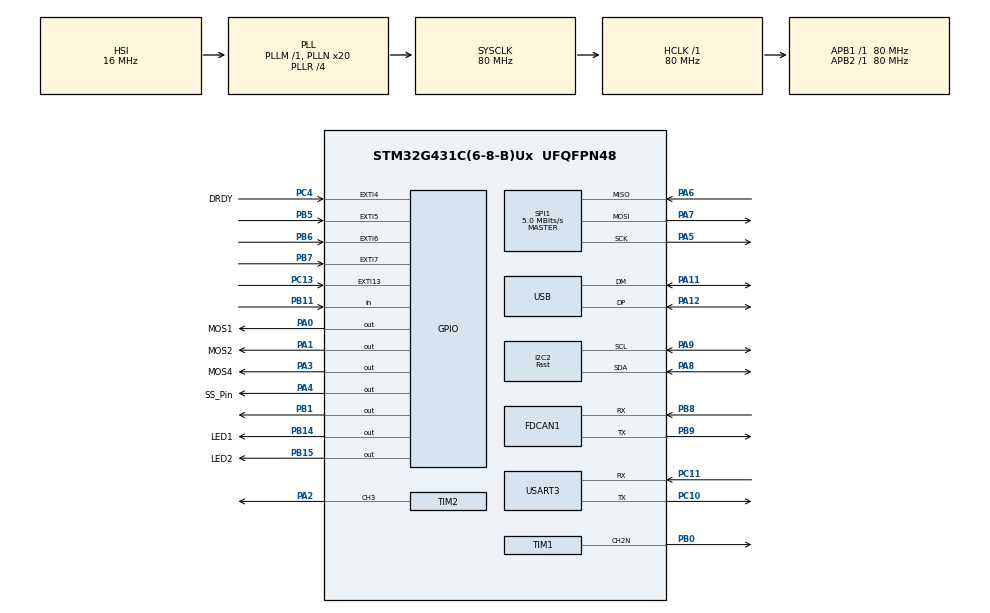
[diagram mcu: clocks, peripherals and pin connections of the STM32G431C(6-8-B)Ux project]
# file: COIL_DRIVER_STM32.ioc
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Dma.I2C2_TX.2.Direction=DMA_MEMORY_TO_PERIPH
Dma.I2C2_TX.2.EventEnable=DISABLE
Dma.I2C2_TX.2.Instance=DMA1_Channel1
Dma.I2C2_TX.2.MemDataAlignment=DMA_MDATAALIGN_BYTE
Dma.I2C2_TX.2.MemInc=DMA_MINC_ENABLE
Dma.I2C2_TX.2.Mode=DMA_NORMAL
Dma.I2C2_TX.2.PeriphDataAlignment=DMA_PDATAALIGN_BYTE
Dma.I2C2_TX.2.PeriphInc=DMA_PINC_DISABLE
Dma.I2C2_TX.2.Polarity=HAL_DMAMUX_REQ_GEN_RISING
Dma.I2C2_TX.2.Priority=DMA_PRIORITY_LOW
Dma.I2C2_TX.2.RequestNumber=1
Dma.I2C2_TX.2.SignalID=NONE
Dma.I2C2_TX.2.SyncEnable=DISABLE
Dma.I2C2_TX.2.SyncPolarity=HAL_DMAMUX_SYNC_NO_EVENT
Dma.I2C2_TX.2.SyncRequestNumber=1
Dma.I2C2_TX.2.SyncSignalID=NONE
Dma.MEMTOMEM.3.Direction=DMA_MEMORY_TO_MEMORY
Dma.MEMTOMEM.3.EventEnable=DISABLE
Dma.MEMTOMEM.3.Instance=DMA1_Channel2
Dma.MEMTOMEM.3.MemDataAlignment=DMA_MDATAALIGN_WORD
Dma.MEMTOMEM.3.MemInc=DMA_MINC_ENABLE
Dma.MEMTOMEM.3.Mode=DMA_NORMAL
Dma.MEMTOMEM.3.PeriphDataAlignment=DMA_PDATAALIGN_WORD
Dma.MEMTOMEM.3.PeriphInc=DMA_PINC_ENABLE
Dma.MEMTOMEM.3.Polarity=HAL_DMAMUX_REQ_GEN_RISING
Dma.MEMTOMEM.3.Priority=DMA_PRIORITY_LOW
Dma.MEMTOMEM.3.RequestNumber=1
Dma.MEMTOMEM.3.SignalID=NONE
Dma.MEMTOMEM.3.SyncEnable=DISABLE
Dma.MEMTOMEM.3.SyncPolarity=HAL_DMAMUX_SYNC_NO_EVENT
Dma.MEMTOMEM.3.SyncRequestNumber=1
Dma.MEMTOMEM.3.SyncSignalID=NONE
Dma.Request0=SPI1_RX
Dma.Request1=SPI1_TX
Dma.Request2=I2C2_TX
Dma.Request3=MEMTOMEM
Dma.SPI1_RX.0.Direction=DMA_PERIPH_TO_MEMORY
Dma.SPI1_RX.0.EventEnable=DISABLE
Dma.SPI1_RX.0.Instance=DMA2_Channel5
Dma.SPI1_RX.0.MemDataAlignment=DMA_MDATAALIGN_HALFWORD
Dma.SPI1_RX.0.MemInc=DMA_MINC_ENABLE
Dma.SPI1_RX.0.Mode=DMA_NORMAL
Dma.SPI1_RX.0.PeriphDataAlignment=DMA_PDATAALIGN_HALFWORD
Dma.SPI1_RX.0.PeriphInc=DMA_PINC_DISABLE
Dma.SPI1_RX.0.Polarity=HAL_DMAMUX_REQ_GEN_RISING
Dma.SPI1_RX.0.Priority=DMA_PRIORITY_LOW
Dma.SPI1_RX.0.RequestNumber=1
Dma.SPI1_RX.0.SignalID=NONE
Dma.SPI1_RX.0.SyncEnable=DISABLE
Dma.SPI1_RX.0.SyncPolarity=HAL_DMAMUX_SYNC_NO_EVENT
Dma.SPI1_RX.0.SyncRequestNumber=1
Dma.SPI1_RX.0.SyncSignalID=NONE
Dma.SPI1_TX.1.Direction=DMA_MEMORY_TO_PERIPH
Dma.SPI1_TX.1.EventEnable=DISABLE
Dma.SPI1_TX.1.Instance=DMA2_Channel2
Dma.SPI1_TX.1.MemDataAlignment=DMA_MDATAALIGN_HALFWORD
Dma.SPI1_TX.1.MemInc=DMA_MINC_ENABLE
Dma.SPI1_TX.1.Mode=DMA_NORMAL
Dma.SPI1_TX.1.PeriphDataAlignment=DMA_PDATAALIGN_HALFWORD
Dma.SPI1_TX.1.PeriphInc=DMA_PINC_DISABLE
Dma.SPI1_TX.1.Polarity=HAL_DMAMUX_REQ_GEN_RISING
Dma.SPI1_TX.1.Priority=DMA_PRIORITY_LOW
Dma.SPI1_TX.1.RequestNumber=1
Dma.SPI1_TX.1.SignalID=NONE
Dma.SPI1_TX.1.SyncEnable=DISABLE
Dma.SPI1_TX.1.SyncPolarity=HAL_DMAMUX_SYNC_NO_EVENT
Dma.SPI1_TX.1.SyncRequestNumber=1
Dma.SPI1_TX.1.SyncSignalID=NONE
FDCAN1.CalculateBaudRateNominal=1000000
FDCAN1.CalculateTimeBitNominal=1000
FDCAN1.CalculateTimeQuantumNominal=200.0
I2C2.I2C_Speed_Mode=I2C_Fast
I2C2.Timing=0x00702991
Mcu.Family=STM32G4
Mcu.Name=STM32G431C(6-8-B)Ux
Mcu.Package=UFQFPN48
NVIC.DMA1_Channel1_IRQn=true\:0\:0\:false\:false\:true\:false\:true\:true
NVIC.DMA2_Channel2_IRQn=true\:0\:0\:false\:false\:true\:false\:true\:true
NVIC.DMA2_Channel5_IRQn=true\:0\:0\:false\:false\:true\:false\:true\:true
NVIC.EXTI4_IRQn=true\:0\:0\:false\:false\:true\:true\:true\:true
NVIC.I2C2_EV_IRQn=true\:0\:0\:false\:false\:true\:true\:true\:true
NVIC.PriorityGroup=NVIC_PRIORITYGROUP_4
NVIC.SPI1_IRQn=true\:0\:0\:false\:false\:true\:true\:true\:true
NVIC.TIM2_IRQn=true\:0\:0\:false\:false\:true\:true\:true\:true
NVIC.TIM3_IRQn=true\:0\:0\:false\:false\:true\:true\:true\:true
NVIC.TIM6_DAC_IRQn=true\:0\:0\:false\:false\:true\:true\:true\:true
NVIC.TIM7_IRQn=true\:0\:0\:false\:false\:true\:true\:true\:true
NVIC.USB_HP_IRQn=true\:0\:0\:false\:false\:true\:true\:true\:true
NVIC.USB_LP_IRQn=true\:0\:0\:false\:false\:true\:false\:true\:true
PA0.GPIO_Label=MOS1
PA0.Signal=GPIO_Output
PA1.GPIO_Label=MOS2
PA1.Signal=GPIO_Output
PA11.Mode=Device
PA11.Signal=USB_DM
PA12.Mode=Device
PA12.Signal=USB_DP
PA13.Mode=JTAG_5_pins
PA13.Signal=SYS_JTMS-SWDIO
PA14.Mode=JTAG_5_pins
PA14.Signal=SYS_JTCK-SWCLK
PA15.Mode=JTAG_5_pins
PA15.Signal=SYS_JTDI
PA2.Signal=S_TIM2_CH3
PA3.GPIO_Label=MOS4
PA3.Signal=GPIO_Output
PA4.GPIO_Label=SS_Pin
PA4.Signal=GPIO_Output
PA5.Mode=Full_Duplex_Master
PA5.Signal=SPI1_SCK
PA6.Mode=Full_Duplex_Master
PA6.Signal=SPI1_MISO
PA7.Mode=Full_Duplex_Master
PA7.Signal=SPI1_MOSI
PA8.Mode=I2C
PA8.Signal=I2C2_SDA
PA9.Mode=I2C
PA9.Signal=I2C2_SCL
PB0.Mode=PWM Generation2 CH2N
PB0.Signal=TIM1_CH2N
PB1.Signal=GPIO_Output
PB11.Signal=GPIO_Input
PB14.GPIO_Label=LED1
PB14.Signal=GPIO_Output
PB15.GPIO_Label=LED2
PB15.Signal=GPIO_Output
PB3.Mode=JTAG_5_pins
PB3.Signal=SYS_JTDO-SWO
PB4.Mode=JTAG_5_pins
PB4.Signal=SYS_JTRST
PB5.Signal=GPXTI5
PB6.Signal=GPXTI6
PB7.Signal=GPXTI7
PB8-BOOT0.Mode=FDCAN_Activate
PB8-BOOT0.Signal=FDCAN1_RX
PB9.Mode=FDCAN_Activate
PB9.Signal=FDCAN1_TX
PC10.Mode=Asynchronous
PC10.Signal=USART3_TX
PC11.Mode=Asynchronous
PC11.Signal=USART3_RX
PC13.Signal=GPXTI13
PC4.GPIO_Label=DRDY
PC4.Signal=GPXTI4
PF0-OSC_IN.Mode=HSE-External-Oscillator
PF0-OSC_IN.Signal=RCC_OSC_IN
PF1-OSC_OUT.Mode=HSE-External-Oscillator
PF1-OSC_OUT.Signal=RCC_OSC_OUT
ProjectManager.HeapSize=0x200
ProjectManager.StackSize=0x400
ProjectManager.TargetToolchain=STM32CubeIDE
RCC.ADC12Freq_Value=80000000
RCC.AHBFreq_Value=80000000
RCC.APB1Freq_Value=80000000
RCC.APB1TimFreq_Value=80000000
RCC.APB2Freq_Value=80000000
RCC.APB2TimFreq_Value=80000000
RCC.CK48CLockSelection=RCC_USBCLKSOURCE_HSI48
RCC.CortexFreq_Value=80000000
RCC.EXTERNAL_CLOCK_VALUE=12288000
RCC.HCLKFreq_Value=80000000
RCC.HSE_VALUE=16000000
RCC.HSI48_VALUE=48000000
RCC.HSI_VALUE=16000000
RCC.LSE_VALUE=32768
RCC.PLLN=20
RCC.PLLQ=RCC_PLLQ_DIV4
RCC.PLLR=RCC_PLLR_DIV4
RCC.SYSCLKFreq_VALUE=80000000
RCC.SYSCLKSource=RCC_SYSCLKSOURCE_PLLCLK
RCC.USBFreq_Value=48000000
RCC.VCOOutputFreq_Value=320000000
SH.S_TIM2_CH3.0=TIM2_CH3,PWM Generation3 CH3
SPI1.BaudRatePrescaler=SPI_BAUDRATEPRESCALER_16
SPI1.CLKPhase=SPI_PHASE_2EDGE
SPI1.CalculateBaudRate=5.0 MBits/s
SPI1.DataSize=SPI_DATASIZE_16BIT
SPI1.Direction=SPI_DIRECTION_2LINES
SPI1.Mode=SPI_MODE_MASTER
SPI1.VirtualType=VM_MASTER
TIM1.Channel-PWM\ Generation2\ CH2N=TIM_CHANNEL_2
TIM1.OC2Preload_PWM=DISABLE
TIM1.OCFastMode_PWM-PWM\ Generation2\ CH2N=TIM_OCFAST_ENABLE
TIM1.OCMode_PWM-PWM\ Generation2\ CH2N=TIM_OCMODE_PWM2
TIM1.PeriodNoDither=12
TIM1.PulseNoDither_2=6
TIM1.TIM_MasterOutputTrigger=TIM_TRGO_RESET
TIM1.TIM_MasterOutputTrigger2=TIM_TRGO2_UPDATE
TIM2.Channel-PWM\ Generation3\ CH3=TIM_CHANNEL_3
TIM2.ClockDivision=TIM_CLOCKDIVISION_DIV4
TIM2.PeriodNoDither=3000
TIM2.Prescaler=20
TIM2.PulseNoDither_3=2500
TIM2.TIM_MasterOutputTrigger=TIM_TRGO_ENABLE
TIM2.TIM_MasterSlaveMode=TIM_MASTERSLAVEMODE_DISABLE
TIM3.AutoReloadPreload=TIM_AUTORELOAD_PRELOAD_ENABLE
TIM3.ClockDivision=TIM_CLOCKDIVISION_DIV4
TIM3.PeriodNoDither=20000
TIM3.Prescaler=60
TIM3.TIM_MasterOutputTrigger=TIM_TRGO_ENABLE
TIM6.AutoReloadPreload=TIM_AUTORELOAD_PRELOAD_ENABLE
TIM6.PeriodNoDither=20000
TIM7.AutoReloadPreload=TIM_AUTORELOAD_PRELOAD_ENABLE
TIM7.PeriodNoDither=20000
TIM7.Prescaler=4
USART3.VirtualMode-Asynchronous=VM_ASYNC
USB_DEVICE.APP_RX_DATA_SIZE=64
USB_DEVICE.APP_TX_DATA_SIZE=64
USB_DEVICE.CLASS_NAME_FS=CDC
USB_DEVICE.VID=1155
USB_DEVICE.VirtualMode=Cdc
USB_DEVICE.VirtualModeFS=Cdc_FS
VP_SYS_VS_DBSignals.Mode=DisableDeadBatterySignals
VP_TIM1_VS_ClockSourceINT.Mode=Internal
VP_TIM3_VS_ClockSourceINT.Mode=Internal
VP_TIM6_VS_ClockSourceINT.Mode=Enable_Timer
VP_TIM7_VS_ClockSourceINT.Mode=Enable_Timer
VP_USB_DEVICE_VS_USB_DEVICE_CDC_FS.Mode=CDC_FS
board=custom

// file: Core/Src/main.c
/* USER CODE BEGIN Header */
/**
  ******************************************************************************
  * @file           : main.c
  * @brief          : Main program body
  ******************************************************************************
  * @attention
  *
  * Copyright (c) 2024 STMicroelectronics.
  * All rights reserved.
  *
  * This software is licensed under terms that can be found in the LICENSE file
  * in the root directory of this software component.
  * If no LICENSE file comes with this software, it is provided AS-IS.
  *
  ******************************************************************************
  */
/* USER CODE END Header */
#include "main.h"
#include "usb_device.h"

/* USER CODE BEGIN Includes */
#include "main.h"
#include "usbd_cdc_if.h"
#include <math.h>
#include "Queue.h"
//#include "usbd_customhid.h"
//#include "usbd_customhid.h"
/* USER CODE END Includes */

FDCAN_HandleTypeDef hfdcan1;

I2C_HandleTypeDef hi2c2;
DMA_HandleTypeDef hdma_i2c2_tx;

SPI_HandleTypeDef hspi1;
DMA_HandleTypeDef hdma_spi1_rx;
DMA_HandleTypeDef hdma_spi1_tx;

TIM_HandleTypeDef htim1;
TIM_HandleTypeDef htim2;
TIM_HandleTypeDef htim3;
TIM_HandleTypeDef htim6;
TIM_HandleTypeDef htim7;

UART_HandleTypeDef huart3;

DMA_HandleTypeDef hdma_memtomem_dma1_channel2;
/* USER CODE BEGIN PV */
extern USBD_HandleTypeDef hUsbDeviceFS;

//rx_buffer_typedef rx_buffer_struct;

STATE_typedef STATE;
coilParams_typedef coilParams = {
		.Amplitude = 25000,
		.Offset = 0,
		.Freq = 40,
		.numCycles = 32,
		.PtsPerCycle = 250,
		.REGISTER = 0
};

// Used for ADC
spi_buffer_typedef tx_spi_buffer,rx_spi_buffer;
ADC_STATUS_TYPEDEF ADC_STATUS;
ads_data_typedef ADC_DATA;
uint32_t STATE_SPI;
EEPROM_Data_typedef EEPROM_Data;

/* USER CODE END PV */

void SystemClock_Config(void);
static void MX_GPIO_Init(void);
static void MX_DMA_Init(void);
static void MX_SPI1_Init(void);
static void MX_FDCAN1_Init(void);
static void MX_I2C2_Init(void);
static void MX_TIM1_Init(void);
static void MX_USART3_UART_Init(void);
static void MX_TIM3_Init(void);
static void MX_TIM6_Init(void);
static void MX_TIM7_Init(void);
static void MX_TIM2_Init(void);

/* USER CODE BEGIN 0 */

// Create sine wave and store on look up table
uint16_t USBReceivedBuf[USBReceiveLength];

uint16_t DAC_BUFFER[BUFFER_LENGTH];

StateQueue_t stateQueue;
int16_t TxBuffer[USBTXbufferSize];

DATABUFFER_typedef DATABUFFER;
/*int16_t BufferA[BUFFER_LENGTH];
int16_t BufferB[BUFFER_LENGTH];
int16_t BufferC[BUFFER_LENGTH];
int16_t BufferD[BUFFER_LENGTH];
int16_t BufferE[BUFFER_LENGTH];
*/
uint16_t dacIndex;
uint32_t pulseCount;
/* USER CODE END 0 */

int main(void)
{

  /* USER CODE BEGIN 1 */

	buildWaveform(&coilParams);
	coilParams.Amplitude = 25000;
	coilParams.Offset = 0;
	coilParams.numCycles = 16;
	//htim7.Init.Prescaler = 50;
	// if (HAL_TIM_Base_Init(&htim7) != HAL_OK)  {Error_Handler();  }
	//Freq = Xtal/Prescalar/Counter/BUFFER_LENGTH/Cycles
	float temp;
	for (uint16_t i=0;i<BUFFER_LENGTH;i++) {
		temp = 0.5*sinf(2*PI*i/BUFFER_LENGTH*coilParams.numCycles);
		DAC_BUFFER[i] = (int16_t)(coilParams.Amplitude * temp)+coilParams.Offset;
	}
  /* USER CODE END 1 */

  /* MCU Configuration--------------------------------------------------------*/

  /* Reset of all peripherals, Initializes the Flash interface and the Systick. */
  HAL_Init();

  /* Configure the system clock */
  SystemClock_Config();

  /* Initialize all configured peripherals */
  MX_GPIO_Init();
  MX_DMA_Init();
  MX_SPI1_Init();
  MX_FDCAN1_Init();
  MX_I2C2_Init();
  MX_TIM1_Init();
  MX_USART3_UART_Init();
  MX_TIM3_Init();
  MX_USB_Device_Init();
  MX_TIM6_Init();
  MX_TIM7_Init();
  MX_TIM2_Init();
  /* USER CODE BEGIN 2 */
  HAL_TIM_PWM_Start(&htim1, TIM_CHANNEL_1);

  // Start PWM Output on TIM1 Channel 2 and Channel 2N
  if (HAL_TIM_PWM_Start(&htim1, TIM_CHANNEL_2) != HAL_OK)   {      Error_Handler();   }
  if (HAL_TIMEx_PWMN_Start(&htim1, TIM_CHANNEL_2) != HAL_OK)   {       Error_Handler();   }

DAC_Initialize(&hi2c2);

ADS131M08_init(&STATE_SPI);

HAL_GPIO_WritePin(GPIOB, LED1_Pin,0);
HAL_GPIO_WritePin(GPIOB, LED2_Pin,1);

	uint16_t eepromData[] = {0x1234,0x5678,0xABCD};

 //   HAL_StatusTypeDef status = EEPROM_WriteBytes(&hi2c2, 0x0, eepromData, sizeof(eepromData)); // Write data to address 0x0

    EEPROM_ReadByte(&hi2c2,0);

  //TIM3 used to regularly send USB update packet
    //if (HAL_TIM_Base_Start_IT(&htim3) != HAL_OK)  {   Error_Handler();  }
    START_USB_UPDATE_PACKET_TIMER
	START_BURST_LOG_TIMER

	  __HAL_TIM_SET_COUNTER(&htim6, 0);
	  //START_BURST_LOG_TIMER
	  STATE.VALUES.BITS.sendPeriodicUSB = 1;
	  HAL_StatusTypeDef i2cStatus;
	  HAL_Delay(100);
	  int16_t DAC_ZERO;
	  DAC_ZERO = -100;
	  i2cStatus = DAC_Send(&hi2c2,32768+DAC_ZERO);
	  turnMotorOff();
	//initQueue(&stateQueue);
  /* USER CODE END 2 */

  /* Infinite loop */
  while (1)
  {

    /* USER CODE BEGIN 3 */

/*
	  if (!isQueueEmpty(&stateQueue)) {
	              State_t currentState = dequeue(&stateQueue);
	              switch (currentState) {
	                  case STATE_TIM6:
	                     // handleStateTIM2();
	                      break;
	                  case STATE_TIM3:
	                   //   handleStateTIM3();
	                      break;
	                  case STATE_USB_RECEIVED:
	                  //    handleUSBReceived();
	                      break;
	                  default:
	                	  break;
	              }
	  }
*/

	  if (STATE.VALUES.BITS.sendSineWave) {
	  //TIM7 used to acquire data and fill buffer

		  if (STATE.VALUES.BITS.stateTIM7) {
			  STATE.VALUES.BITS.stateTIM7 = 0;
	//	  handleStateTIM2();
					  DAC_Send_DMA(&hi2c2,DAC_BUFFER[dacIndex]);
					  DATABUFFER.Buffers.A[dacIndex] =  DAC_BUFFER[dacIndex];
					  DATABUFFER.Buffers.B[dacIndex] =  ADC_DATA.data1;
					  DATABUFFER.Buffers.C[dacIndex] = ADC_DATA.data2;
					  DATABUFFER.Buffers.D[dacIndex] = ADC_DATA.data3;
					  //BufferE[dacIndex] = DAC_BUFFER[dacIndex];
					 // BufferA[dacIndex] = ADC_DATA.data2;

					  dacIndex++;

					  if (dacIndex>=BUFFER_LENGTH) {
						  dacIndex = 0;
						  //STOP_BURST_LOG_TIMER
						  STATE.VALUES.BITS.sendSineWave = 0;
						  STATE.VALUES.BITS.BufferFull = 1;
						  DAC_Send_DMA(&hi2c2,0);
					  }
		  	  }
	  }

		  /*
		  if ( STATE.VALUES.BITS.BufferFull) {
			  //STATE.VALUES.BITS.sendPeriodicUSB = 0;
			  handleBufferOutput();
			  STATE.VALUES.BITS.sendData = 0;
			  STATE.VALUES.BITS.BufferFull = 0;
		  } else {
			  	  STATE.VALUES.BITS.unused7 = 1;
		  }
		  */

	  if (STATE.VALUES.BITS.sendPeriodicUSB) {
		  if (STATE.VALUES.BITS.stateTIM3) {
		  //DAC_Send_DMA(&hi2c2,increment)
		    STATE.VALUES.BITS.stateTIM3 = 0;
		    handleStateSendPeriodicData();
		  }
	  }

	  if (STATE.VALUES.BITS.USBreceived) {
		  STATE.VALUES.BITS.USBreceived = 0;
		  handleUSBReceived();
	  }

  }

  /* USER CODE END 3 */
}

void SystemClock_Config(void)
{
  RCC_OscInitTypeDef RCC_OscInitStruct = {0};
  RCC_ClkInitTypeDef RCC_ClkInitStruct = {0};

  /** Configure the main internal regulator output voltage
  */
  HAL_PWREx_ControlVoltageScaling(PWR_REGULATOR_VOLTAGE_SCALE1);

  /** Initializes the RCC Oscillators according to the specified parameters
  * in the RCC_OscInitTypeDef structure.
  */
  RCC_OscInitStruct.OscillatorType = RCC_OSCILLATORTYPE_HSI|RCC_OSCILLATORTYPE_HSI48;
  RCC_OscInitStruct.HSIState = RCC_HSI_ON;
  RCC_OscInitStruct.HSICalibrationValue = RCC_HSICALIBRATION_DEFAULT;
  RCC_OscInitStruct.HSI48State = RCC_HSI48_ON;
  RCC_OscInitStruct.PLL.PLLState = RCC_PLL_ON;
  RCC_OscInitStruct.PLL.PLLSource = RCC_PLLSOURCE_HSI;
  RCC_OscInitStruct.PLL.PLLM = RCC_PLLM_DIV1;
  RCC_OscInitStruct.PLL.PLLN = 20;
  RCC_OscInitStruct.PLL.PLLP = RCC_PLLP_DIV2;
  RCC_OscInitStruct.PLL.PLLQ = RCC_PLLQ_DIV4;
  RCC_OscInitStruct.PLL.PLLR = RCC_PLLR_DIV4;
  if (HAL_RCC_OscConfig(&RCC_OscInitStruct) != HAL_OK)
  {
    Error_Handler();
  }

  /** Initializes the CPU, AHB and APB buses clocks
  */
  RCC_ClkInitStruct.ClockType = RCC_CLOCKTYPE_HCLK|RCC_CLOCKTYPE_SYSCLK
                              |RCC_CLOCKTYPE_PCLK1|RCC_CLOCKTYPE_PCLK2;
  RCC_ClkInitStruct.SYSCLKSource = RCC_SYSCLKSOURCE_PLLCLK;
  RCC_ClkInitStruct.AHBCLKDivider = RCC_SYSCLK_DIV1;
  RCC_ClkInitStruct.APB1CLKDivider = RCC_HCLK_DIV1;
  RCC_ClkInitStruct.APB2CLKDivider = RCC_HCLK_DIV1;

  if (HAL_RCC_ClockConfig(&RCC_ClkInitStruct, FLASH_LATENCY_2) != HAL_OK)
  {
    Error_Handler();
  }
}

static void MX_FDCAN1_Init(void)
{

  hfdcan1.Instance = FDCAN1;
  hfdcan1.Init.ClockDivider = FDCAN_CLOCK_DIV1;
  hfdcan1.Init.FrameFormat = FDCAN_FRAME_CLASSIC;
  hfdcan1.Init.Mode = FDCAN_MODE_NORMAL;
  hfdcan1.Init.AutoRetransmission = DISABLE;
  hfdcan1.Init.TransmitPause = DISABLE;
  hfdcan1.Init.ProtocolException = DISABLE;
  hfdcan1.Init.NominalPrescaler = 16;
  hfdcan1.Init.NominalSyncJumpWidth = 1;
  hfdcan1.Init.NominalTimeSeg1 = 2;
  hfdcan1.Init.NominalTimeSeg2 = 2;
  hfdcan1.Init.DataPrescaler = 1;
  hfdcan1.Init.DataSyncJumpWidth = 1;
  hfdcan1.Init.DataTimeSeg1 = 1;
  hfdcan1.Init.DataTimeSeg2 = 1;
  hfdcan1.Init.StdFiltersNbr = 0;
  hfdcan1.Init.ExtFiltersNbr = 0;
  hfdcan1.Init.TxFifoQueueMode = FDCAN_TX_FIFO_OPERATION;
  if (HAL_FDCAN_Init(&hfdcan1) != HAL_OK)
  {
    Error_Handler();
  }

}

static void MX_I2C2_Init(void)
{

  hi2c2.Instance = I2C2;
  hi2c2.Init.Timing = 0x00702991;
  hi2c2.Init.OwnAddress1 = 0;
  hi2c2.Init.AddressingMode = I2C_ADDRESSINGMODE_7BIT;
  hi2c2.Init.DualAddressMode = I2C_DUALADDRESS_DISABLE;
  hi2c2.Init.OwnAddress2 = 0;
  hi2c2.Init.OwnAddress2Masks = I2C_OA2_NOMASK;
  hi2c2.Init.GeneralCallMode = I2C_GENERALCALL_DISABLE;
  hi2c2.Init.NoStretchMode = I2C_NOSTRETCH_DISABLE;
  if (HAL_I2C_Init(&hi2c2) != HAL_OK)
  {
    Error_Handler();
  }

  /** Configure Analogue filter
  */
  if (HAL_I2CEx_ConfigAnalogFilter(&hi2c2, I2C_ANALOGFILTER_ENABLE) != HAL_OK)
  {
    Error_Handler();
  }

  /** Configure Digital filter
  */
  if (HAL_I2CEx_ConfigDigitalFilter(&hi2c2, 0) != HAL_OK)
  {
    Error_Handler();
  }

}

static void MX_SPI1_Init(void)
{

  /* SPI1 parameter configuration*/
  hspi1.Instance = SPI1;
  hspi1.Init.Mode = SPI_MODE_MASTER;
  hspi1.Init.Direction = SPI_DIRECTION_2LINES;
  hspi1.Init.DataSize = SPI_DATASIZE_16BIT;
  hspi1.Init.CLKPolarity = SPI_POLARITY_LOW;
  hspi1.Init.CLKPhase = SPI_PHASE_2EDGE;
  hspi1.Init.NSS = SPI_NSS_SOFT;
  hspi1.Init.BaudRatePrescaler = SPI_BAUDRATEPRESCALER_16;
  hspi1.Init.FirstBit = SPI_FIRSTBIT_MSB;
  hspi1.Init.TIMode = SPI_TIMODE_DISABLE;
  hspi1.Init.CRCCalculation = SPI_CRCCALCULATION_DISABLE;
  hspi1.Init.CRCPolynomial = 7;
  hspi1.Init.CRCLength = SPI_CRC_LENGTH_DATASIZE;
  hspi1.Init.NSSPMode = SPI_NSS_PULSE_DISABLE;
  if (HAL_SPI_Init(&hspi1) != HAL_OK)
  {
    Error_Handler();
  }

}

static void MX_TIM1_Init(void)
{

  TIM_ClockConfigTypeDef sClockSourceConfig = {0};
  TIM_MasterConfigTypeDef sMasterConfig = {0};
  TIM_OC_InitTypeDef sConfigOC = {0};
  TIM_BreakDeadTimeConfigTypeDef sBreakDeadTimeConfig = {0};

  htim1.Instance = TIM1;
  htim1.Init.Prescaler = 0;
  htim1.Init.CounterMode = TIM_COUNTERMODE_UP;
  htim1.Init.Period = 12;
  htim1.Init.ClockDivision = TIM_CLOCKDIVISION_DIV1;
  htim1.Init.RepetitionCounter = 0;
  htim1.Init.AutoReloadPreload = TIM_AUTORELOAD_PRELOAD_DISABLE;
  if (HAL_TIM_Base_Init(&htim1) != HAL_OK)
  {
    Error_Handler();
  }
  sClockSourceConfig.ClockSource = TIM_CLOCKSOURCE_INTERNAL;
  if (HAL_TIM_ConfigClockSource(&htim1, &sClockSourceConfig) != HAL_OK)
  {
    Error_Handler();
  }
  if (HAL_TIM_PWM_Init(&htim1) != HAL_OK)
  {
    Error_Handler();
  }
  sMasterConfig.MasterOutputTrigger = TIM_TRGO_RESET;
  sMasterConfig.MasterOutputTrigger2 = TIM_TRGO2_UPDATE;
  sMasterConfig.MasterSlaveMode = TIM_MASTERSLAVEMODE_DISABLE;
  if (HAL_TIMEx_MasterConfigSynchronization(&htim1, &sMasterConfig) != HAL_OK)
  {
    Error_Handler();
  }
  sConfigOC.OCMode = TIM_OCMODE_PWM2;
  sConfigOC.Pulse = 6;
  sConfigOC.OCPolarity = TIM_OCPOLARITY_HIGH;
  sConfigOC.OCNPolarity = TIM_OCNPOLARITY_HIGH;
  sConfigOC.OCFastMode = TIM_OCFAST_ENABLE;
  sConfigOC.OCIdleState = TIM_OCIDLESTATE_RESET;
  sConfigOC.OCNIdleState = TIM_OCNIDLESTATE_RESET;
  if (HAL_TIM_PWM_ConfigChannel(&htim1, &sConfigOC, TIM_CHANNEL_2) != HAL_OK)
  {
    Error_Handler();
  }
  __HAL_TIM_DISABLE_OCxPRELOAD(&htim1, TIM_CHANNEL_2);
  sBreakDeadTimeConfig.OffStateRunMode = TIM_OSSR_DISABLE;
  sBreakDeadTimeConfig.OffStateIDLEMode = TIM_OSSI_DISABLE;
  sBreakDeadTimeConfig.LockLevel = TIM_LOCKLEVEL_OFF;
  sBreakDeadTimeConfig.DeadTime = 0;
  sBreakDeadTimeConfig.BreakState = TIM_BREAK_DISABLE;
  sBreakDeadTimeConfig.BreakPolarity = TIM_BREAKPOLARITY_HIGH;
  sBreakDeadTimeConfig.BreakFilter = 0;
  sBreakDeadTimeConfig.BreakAFMode = TIM_BREAK_AFMODE_INPUT;
  sBreakDeadTimeConfig.Break2State = TIM_BREAK2_DISABLE;
  sBreakDeadTimeConfig.Break2Polarity = TIM_BREAK2POLARITY_HIGH;
  sBreakDeadTimeConfig.Break2Filter = 0;
  sBreakDeadTimeConfig.Break2AFMode = TIM_BREAK_AFMODE_INPUT;
  sBreakDeadTimeConfig.AutomaticOutput = TIM_AUTOMATICOUTPUT_DISABLE;
  if (HAL_TIMEx_ConfigBreakDeadTime(&htim1, &sBreakDeadTimeConfig) != HAL_OK)
  {
    Error_Handler();
  }
  HAL_TIM_MspPostInit(&htim1);

}

static void MX_TIM2_Init(void)
{

  TIM_MasterConfigTypeDef sMasterConfig = {0};
  TIM_OC_InitTypeDef sConfigOC = {0};

  htim2.Instance = TIM2;
  htim2.Init.Prescaler = 20;
  htim2.Init.CounterMode = TIM_COUNTERMODE_UP;
  htim2.Init.Period = 3000;
  htim2.Init.ClockDivision = TIM_CLOCKDIVISION_DIV4;
  htim2.Init.AutoReloadPreload = TIM_AUTORELOAD_PRELOAD_DISABLE;
  if (HAL_TIM_PWM_Init(&htim2) != HAL_OK)
  {
    Error_Handler();
  }
  sMasterConfig.MasterOutputTrigger = TIM_TRGO_ENABLE;
  sMasterConfig.MasterSlaveMode = TIM_MASTERSLAVEMODE_DISABLE;
  if (HAL_TIMEx_MasterConfigSynchronization(&htim2, &sMasterConfig) != HAL_OK)
  {
    Error_Handler();
  }
  sConfigOC.OCMode = TIM_OCMODE_PWM1;
  sConfigOC.Pulse = 2500;
  sConfigOC.OCPolarity = TIM_OCPOLARITY_HIGH;
  sConfigOC.OCFastMode = TIM_OCFAST_DISABLE;
  if (HAL_TIM_PWM_ConfigChannel(&htim2, &sConfigOC, TIM_CHANNEL_3) != HAL_OK)
  {
    Error_Handler();
  }
  /* USER CODE BEGIN TIM2_Init 2 */
  HAL_TIM_Base_Start_IT(&htim2);  // Enable the interrupt
  /* USER CODE END TIM2_Init 2 */
  HAL_TIM_MspPostInit(&htim2);

}

static void MX_TIM3_Init(void)
{

  TIM_ClockConfigTypeDef sClockSourceConfig = {0};
  TIM_MasterConfigTypeDef sMasterConfig = {0};

  htim3.Instance = TIM3;
  htim3.Init.Prescaler = 60;
  htim3.Init.CounterMode = TIM_COUNTERMODE_UP;
  htim3.Init.Period = 20000;
  htim3.Init.ClockDivision = TIM_CLOCKDIVISION_DIV4;
  htim3.Init.AutoReloadPreload = TIM_AUTORELOAD_PRELOAD_ENABLE;
  if (HAL_TIM_Base_Init(&htim3) != HAL_OK)
  {
    Error_Handler();
  }
  sClockSourceConfig.ClockSource = TIM_CLOCKSOURCE_INTERNAL;
  if (HAL_TIM_ConfigClockSource(&htim3, &sClockSourceConfig) != HAL_OK)
  {
    Error_Handler();
  }
  sMasterConfig.MasterOutputTrigger = TIM_TRGO_ENABLE;
  sMasterConfig.MasterSlaveMode = TIM_MASTERSLAVEMODE_DISABLE;
  if (HAL_TIMEx_MasterConfigSynchronization(&htim3, &sMasterConfig) != HAL_OK)
  {
    Error_Handler();
  }

}

static void MX_TIM6_Init(void)
{

  TIM_MasterConfigTypeDef sMasterConfig = {0};

  htim6.Instance = TIM6;
  htim6.Init.Prescaler = 0;
  htim6.Init.CounterMode = TIM_COUNTERMODE_UP;
  htim6.Init.Period = 20000;
  htim6.Init.AutoReloadPreload = TIM_AUTORELOAD_PRELOAD_ENABLE;
  if (HAL_TIM_Base_Init(&htim6) != HAL_OK)
  {
    Error_Handler();
  }
  sMasterConfig.MasterOutputTrigger = TIM_TRGO_RESET;
  sMasterConfig.MasterSlaveMode = TIM_MASTERSLAVEMODE_DISABLE;
  if (HAL_TIMEx_MasterConfigSynchronization(&htim6, &sMasterConfig) != HAL_OK)
  {
    Error_Handler();
  }

}

static void MX_TIM7_Init(void)
{

  TIM_MasterConfigTypeDef sMasterConfig = {0};

  htim7.Instance = TIM7;
  htim7.Init.Prescaler = 4;
  htim7.Init.CounterMode = TIM_COUNTERMODE_UP;
  htim7.Init.Period = 20000;
  htim7.Init.AutoReloadPreload = TIM_AUTORELOAD_PRELOAD_ENABLE;
  if (HAL_TIM_Base_Init(&htim7) != HAL_OK)
  {
    Error_Handler();
  }
  sMasterConfig.MasterOutputTrigger = TIM_TRGO_RESET;
  sMasterConfig.MasterSlaveMode = TIM_MASTERSLAVEMODE_DISABLE;
  if (HAL_TIMEx_MasterConfigSynchronization(&htim7, &sMasterConfig) != HAL_OK)
  {
    Error_Handler();
  }

}

static void MX_USART3_UART_Init(void)
{

  huart3.Instance = USART3;
  huart3.Init.BaudRate = 115200;
  huart3.Init.WordLength = UART_WORDLENGTH_8B;
  huart3.Init.StopBits = UART_STOPBITS_1;
  huart3.Init.Parity = UART_PARITY_NONE;
  huart3.Init.Mode = UART_MODE_TX_RX;
  huart3.Init.HwFlowCtl = UART_HWCONTROL_NONE;
  huart3.Init.OverSampling = UART_OVERSAMPLING_16;
  huart3.Init.OneBitSampling = UART_ONE_BIT_SAMPLE_DISABLE;
  huart3.Init.ClockPrescaler = UART_PRESCALER_DIV1;
  huart3.AdvancedInit.AdvFeatureInit = UART_ADVFEATURE_NO_INIT;
  if (HAL_UART_Init(&huart3) != HAL_OK)
  {
    Error_Handler();
  }
  if (HAL_UARTEx_SetTxFifoThreshold(&huart3, UART_TXFIFO_THRESHOLD_1_8) != HAL_OK)
  {
    Error_Handler();
  }
  if (HAL_UARTEx_SetRxFifoThreshold(&huart3, UART_RXFIFO_THRESHOLD_1_8) != HAL_OK)
  {
    Error_Handler();
  }
  if (HAL_UARTEx_DisableFifoMode(&huart3) != HAL_OK)
  {
    Error_Handler();
  }

}

static void MX_DMA_Init(void)
{

  /* DMA controller clock enable */
  __HAL_RCC_DMAMUX1_CLK_ENABLE();
  __HAL_RCC_DMA2_CLK_ENABLE();
  __HAL_RCC_DMA1_CLK_ENABLE();

  /* Configure DMA request hdma_memtomem_dma1_channel2 on DMA1_Channel2 */
  hdma_memtomem_dma1_channel2.Instance = DMA1_Channel2;
  hdma_memtomem_dma1_channel2.Init.Request = DMA_REQUEST_MEM2MEM;
  hdma_memtomem_dma1_channel2.Init.Direction = DMA_MEMORY_TO_MEMORY;
  hdma_memtomem_dma1_channel2.Init.PeriphInc = DMA_PINC_ENABLE;
  hdma_memtomem_dma1_channel2.Init.MemInc = DMA_MINC_ENABLE;
  hdma_memtomem_dma1_channel2.Init.PeriphDataAlignment = DMA_PDATAALIGN_WORD;
  hdma_memtomem_dma1_channel2.Init.MemDataAlignment = DMA_MDATAALIGN_WORD;
  hdma_memtomem_dma1_channel2.Init.Mode = DMA_NORMAL;
  hdma_memtomem_dma1_channel2.Init.Priority = DMA_PRIORITY_LOW;
  if (HAL_DMA_Init(&hdma_memtomem_dma1_channel2) != HAL_OK)
  {
    Error_Handler( );
  }

  /* DMA interrupt init */
  /* DMA1_Channel1_IRQn interrupt configuration */
  HAL_NVIC_SetPriority(DMA1_Channel1_IRQn, 0, 0);
  HAL_NVIC_EnableIRQ(DMA1_Channel1_IRQn);
  /* DMA2_Channel2_IRQn interrupt configuration */
  HAL_NVIC_SetPriority(DMA2_Channel2_IRQn, 0, 0);
  HAL_NVIC_EnableIRQ(DMA2_Channel2_IRQn);
  /* DMA2_Channel5_IRQn interrupt configuration */
  HAL_NVIC_SetPriority(DMA2_Channel5_IRQn, 0, 0);
  HAL_NVIC_EnableIRQ(DMA2_Channel5_IRQn);

}

static void MX_GPIO_Init(void)
{
  GPIO_InitTypeDef GPIO_InitStruct = {0};

  /* GPIO Ports Clock Enable */
  __HAL_RCC_GPIOC_CLK_ENABLE();
  __HAL_RCC_GPIOF_CLK_ENABLE();
  __HAL_RCC_GPIOA_CLK_ENABLE();
  __HAL_RCC_GPIOB_CLK_ENABLE();

  /*Configure GPIO pin Output Level */
  HAL_GPIO_WritePin(GPIOA, MOS1_Pin|MOS2_Pin|MOS4_Pin|SS_Pin_Pin, GPIO_PIN_RESET);

  /*Configure GPIO pin Output Level */
  HAL_GPIO_WritePin(GPIOB, GPIO_PIN_1|LED1_Pin|LED2_Pin, GPIO_PIN_RESET);

  /*Configure GPIO pins : PC13 DRDY_Pin */
  GPIO_InitStruct.Pin = GPIO_PIN_13|DRDY_Pin;
  GPIO_InitStruct.Mode = GPIO_MODE_IT_RISING;
  GPIO_InitStruct.Pull = GPIO_NOPULL;
  HAL_GPIO_Init(GPIOC, &GPIO_InitStruct);

  /*Configure GPIO pins : MOS1_Pin MOS2_Pin MOS4_Pin SS_Pin_Pin */
  GPIO_InitStruct.Pin = MOS1_Pin|MOS2_Pin|MOS4_Pin|SS_Pin_Pin;
  GPIO_InitStruct.Mode = GPIO_MODE_OUTPUT_PP;
  GPIO_InitStruct.Pull = GPIO_NOPULL;
  GPIO_InitStruct.Speed = GPIO_SPEED_FREQ_LOW;
  HAL_GPIO_Init(GPIOA, &GPIO_InitStruct);

  /*Configure GPIO pins : PB1 LED1_Pin LED2_Pin */
  GPIO_InitStruct.Pin = GPIO_PIN_1|LED1_Pin|LED2_Pin;
  GPIO_InitStruct.Mode = GPIO_MODE_OUTPUT_PP;
  GPIO_InitStruct.Pull = GPIO_NOPULL;
  GPIO_InitStruct.Speed = GPIO_SPEED_FREQ_LOW;
  HAL_GPIO_Init(GPIOB, &GPIO_InitStruct);

  /*Configure GPIO pin : PB11 */
  GPIO_InitStruct.Pin = GPIO_PIN_11;
  GPIO_InitStruct.Mode = GPIO_MODE_INPUT;
  GPIO_InitStruct.Pull = GPIO_NOPULL;
  HAL_GPIO_Init(GPIOB, &GPIO_InitStruct);

  /*Configure GPIO pins : PB5 PB6 PB7 */
  GPIO_InitStruct.Pin = GPIO_PIN_5|GPIO_PIN_6|GPIO_PIN_7;
  GPIO_InitStruct.Mode = GPIO_MODE_IT_RISING;
  GPIO_InitStruct.Pull = GPIO_NOPULL;
  HAL_GPIO_Init(GPIOB, &GPIO_InitStruct);

  /* EXTI interrupt init*/
  HAL_NVIC_SetPriority(EXTI4_IRQn, 0, 0);
  HAL_NVIC_EnableIRQ(EXTI4_IRQn);

}

/* USER CODE BEGIN 4 */
void USB_CDC_RxHandler(uint8_t* Buf, uint32_t Len)
{
    CDC_Transmit_FS(Buf, Len);
}

/* USER CODE END 4 */

void Error_Handler(void)
{
  __disable_irq();
  while (1)
  {
  }
}
